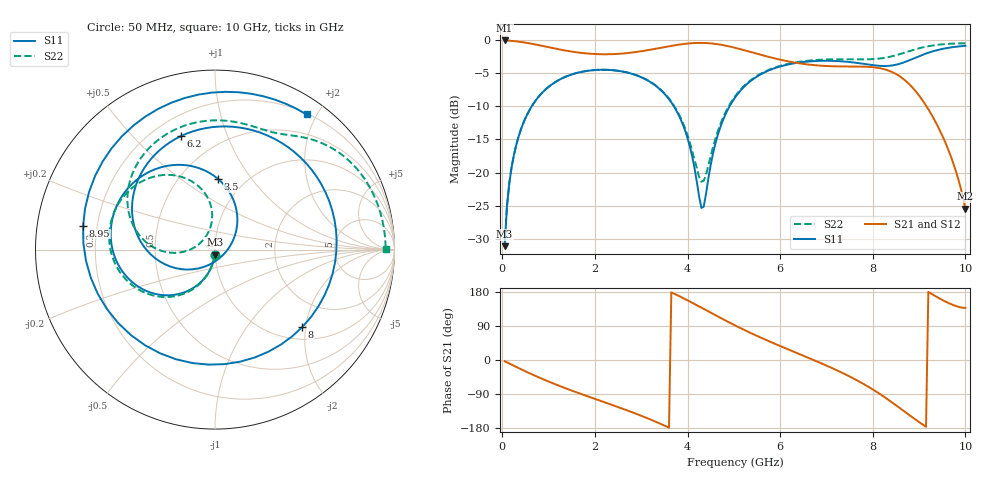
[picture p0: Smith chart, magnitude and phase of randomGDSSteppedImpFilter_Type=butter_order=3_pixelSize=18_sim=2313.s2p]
! freq	dB(S11)	phase(S11)	dB(S12)	phase(S12)
!  dB(S21)	phase(S21)	dB(S22)	phase(S22)
!S-par simulation data
#  GHz  S  DB  R 50
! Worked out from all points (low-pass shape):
!   200 points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, 50 MHz to 10 GHz, reference 50 ohm
!   highest |S21| = -0.01 dB at 50 MHz (marker M1); lowest = -25.5 dB at 10 GHz (marker M2)
!   |S21| within 3 dB of the highest: start of sweep to 6.058 GHz
!   lowest |S11| = -31.2 dB at 50 MHz (marker M3), VSWR 1.06, Z = 49.8 - j2.75 ohm
!   |S11| at or under -10 dB: start of sweep to 634.7 MHz; 3.707 GHz to 4.906 GHz (1.199 GHz wide, 27.9 % of centre)
!   |S22| runs from -31.2 to -0.4 dB; largest |S21 - S12| = 0
!   S11 on the Smith chart (normalised r, x): 50 MHz: 1.00, -0.06; 3.5 GHz: 0.75, +0.70; 6.2 GHz: 0.31, +0.70; 8 GHz: 1.28, -1.92; 8.95 GHz: 0.15, +0.09; 10 GHz: 0.21, +1.87
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0.05  -31.15 -93.3  -0.01 -3.1  -0.01 -3.1  -31.15 -93.1
0.2  -19.25 -103.0  -0.07 -12.2  -0.07 -12.2  -19.25 -102.5
0.5  -11.77 -121.1  -0.34 -29.9  -0.34 -29.9  -11.77 -119.8
1.05  -6.76 -151.3  -1.11 -59.4  -1.11 -59.4  -6.76 -148.5
1.75  -4.71 175.2  -1.93 -91.8  -1.93 -91.8  -4.71 -179.8
2.7  -4.87 131.7  -1.92 -133.1  -1.92 -133.1  -4.86 141.8
3.4  -7.38 94.0  -1.15 -167.4  -1.15 -167.4  -7.33 112.5
3.5  -8.07 87.7  -1.02 -172.9  -1.02 -172.9  -8.00 108.3
3.95  -13.71 52.8  -0.51 160.6  -0.51 160.6  -13.37 94.5
4.3  -25.37 -33.9  -0.38 138.1  -0.38 138.1  -21.40 134.2
4.65  -14.39 -144.3  -0.58 115.1  -0.58 115.1  -13.83 -175.2
5.05  -8.42 -179.4  -1.16 89.8  -1.16 89.8  -8.25 173.8
5.6  -5.06 143.4  -2.22 58.1  -2.22 58.1  -4.97 149.9
6.2  -3.60 106.6  -3.21 26.6  -3.21 26.6  -3.51 125.2
6.7  -3.15 75.2  -3.72 1.1  -3.72 1.1  -3.01 106.6
7.5  -3.28 13.8  -3.95 -43.5  -3.95 -43.5  -2.86 80.2
8  -3.74 -41.6  -4.06 -77.7  -4.06 -77.7  -2.83 66.9
8.35  -3.85 -93.1  -4.60 -106.1  -4.60 -106.1  -2.51 58.9
8.7  -3.26 -151.1  -6.07 -137.3  -6.07 -137.3  -1.82 49.6
8.95  -2.54 169.7  -7.90 -159.5  -7.90 -159.5  -1.29 41.1
9.45  -1.37 106.4  -13.65 161.8  -13.65 161.8  -0.63 21.5
10  -0.82 55.9  -25.48 137.5  -25.48 137.5  -0.44 0.3
